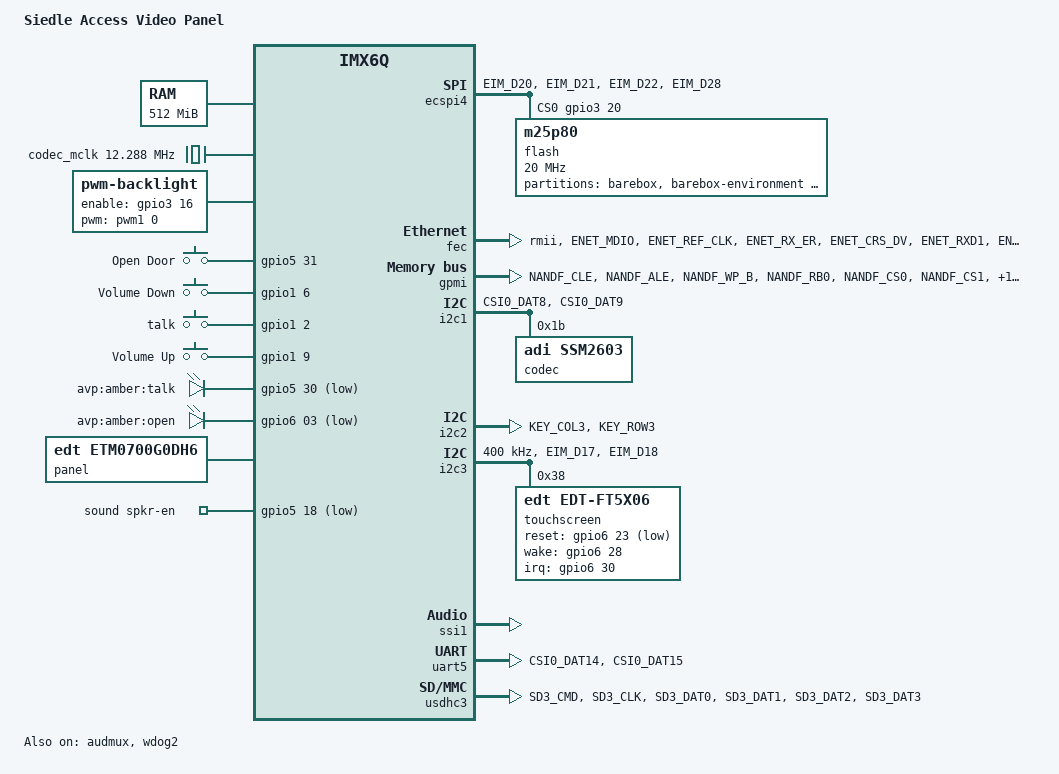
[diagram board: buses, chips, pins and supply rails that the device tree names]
/*
 * Copyright 2013 Philipp Zabel, Pengutronix
 *
 * The code contained herein is licensed under the GNU General Public
 * License. You may obtain a copy of the GNU General Public License
 * Version 2 or later at the following locations:
 *
 * http://www.opensource.org/licenses/gpl-license.html
 * http://www.gnu.org/copyleft/gpl.html
 */

/dts-v1/;
#include "imx6q.dtsi"

/ {
	model = "Siedle Access Video Panel";
	compatible = "siedle,imx6q-avp", "fsl,imx6q";

	memory {
		reg = <0x10000000 0x20000000>;
	};

	aliases {
		/* make the 'state' tool happy */
		state = &state;
	};

	chosen {
		linux,stdout-path = &uart5;

		environment@0 {
			compatible = "barebox,environment";
			device-path = &flash, "partname:barebox-environment";
		};
	};

	state: state@0 {
		magic = <0x4d433230>;
		compatible = "barebox,state";
		backend-type = "raw";
		backend = &flash, "partname:state";
		#address-cells = <1>;
		#size-cells = <1>;

		active_firmware_slot@1 {
			reg = <0 4>;
			type = "enum32";
			names = "none", "slot1", "slot2";
			default = <0>;
		};

		next_firmware_slot@2 {
			reg = <4 4>;
			type = "enum32";
			names = "none", "slot1", "slot2";
			default = <0>;
		};

		content_firmware_slot1@3 {
			/* content description of slot#1 */
			reg = <8 4>;
			type = "enum32";
			names = "empty", "deployed", "invalid", "broken";
			default = <0>;
		};

		content_firmware_slot2@4 {
			/* content description of slot#1 */
			reg = <12 4>;
			type = "enum32";
			names = "empty", "deployed", "invalid", "broken";
			default = <0>;
		};
	};

	codec_mclk: oscillator {
		compatible = "fixed-clock";
		#clock-cells = <1>;
		clock-frequency = <12288000>;
	};

	backlight {
		compatible = "pwm-backlight";
		pwms = <&pwm1 0 50000 1>;
		brightness-levels = <1 96 104 112 120 128 160 192 255>;
		default-brightness-level = <7>;
		enable-gpios = <&gpio3 16 0>;
	};

	gpio-keys {
		compatible = "gpio-keys";

		toe {
			label = "Open Door";
			gpios = <&gpio5 31 0>;
			linux,code = <134>; /* KEY_OPEN */
		};

		volume-down {
			label = "Volume Down";
			gpios = <&gpio1 6 0>;
			linux,code = <114>; /* KEY_VOLUMEDOWN */
		};

		talk {
			lable = "Talk";
			gpios = <&gpio1 2 0>;
			linux,code = <167>; /* KEY_RECORD */
		};

		volume-up {
			label = "Volume Up";
			gpios = <&gpio1 9 0>;
			linux,code = <115>; /* KEY_VOLUMEUP */
		};
	};

	leds {
		compatible = "gpio-leds";

		sprechen {
			label = "avp:amber:talk";
			gpios = <&gpio5 30 1>;
		};

		toe {
			label = "avp:amber:open";
			gpios = <&gpio6 03 1>;
		};
	};

	panel: panel {
		pinctrl-names = "default";
		pinctrl-0 = <&pinctrl_disp0_ipu1>;
		compatible = "edt,etm0700g0dh6", "fsl,imx-parallel-display";
		interface-pix-fmt = "bgr666";

		display-timings {
			native-timing = <&timing1>;
			timing1: etm0700g0dh6 {
				hactive = <800>;
				vactive = <480>;
				clock-frequency = <33260000>;
				hsync-len = <128>;
				hback-porch = <88>;
				hfront-porch = <40>;
				vsync-len = <2>;
				vback-porch = <33>;
				vfront-porch = <10>;
				hsync-active = <0>;
				vsync-active = <0>;
			};
		};
	};

        sound {
		compatible = "fsl,imx6q-siedle-avp-ssm2603",
			     "fsl,imx-audio-ssm2603";
		model = "imx6q-siedle-avp-ssm2603";
		ssi-controller = <&ssi1>;
		audio-codec = <&codec>;
		audio-routing =
			"Int Spk", "LHPOUT",
			"Int Spk", "RHPOUT",
			"MICIN", "Mic";
		fsl,spkr-en-gpios = <&gpio5 18 1>;
		mux-int-port = <1>;
		mux-ext-port = <3>;
        };
};

&audmux {
	status = "okay";
	pinctrl-names = "default";
	pinctrl-0 = <&pinctrl_audmux>;
};

&ecspi4 {
	pinctrl-names = "default";
	pinctrl-0 = <&pinctrl_ecspi4>;
	fsl,spi-num-chipselects = <1>;
	cs-gpios = <&gpio3 20 0>;
	status = "okay";

	flash: m25p80@0 {
		compatible = "m25p80";
		spi-max-frequency = <20000000>;
		use-large-blocks;
		reg = <0x0>;
		#address-cells = <1>;
		#size-cells = <1>;

		/* full size of this SPI NOR flash '25Q128' memory is 16 MiB */
		partition@0 {
			label = "barebox";
			reg = <0x00000 0x080000>; /* 512 kiB */
		};

		partition@1 {
			label = "barebox-environment";
			reg = <0x80000 0x010000>; /*  64 kiB */
		};

		partition@2 {
			label = "rescue-rootfs";
			reg = <0x90000 0xf30000>; /* 15,2 MiB */
		};

		partition@3 {
			label = "state";
			reg = <0xfc0000 0x20000>; /* 2 * 64 kiB */
		};

		/* free space: 0xfe0000-0xffffff = 0x20000 (128 kiB) */
	};
};

&fec {
	pinctrl-names = "default";
	pinctrl-0 = <&pinctrl_enet>;
	phy-mode = "rmii";
	phy-reset-gpios = <&gpio7 12 1>;
	status = "okay";
};

&ocotp {
	barebox,provide-mac-address = <&fec 0x620>;
};

&gpmi {
	/* 256 MiB of NAND */
	pinctrl-names = "default";
	pinctrl-0 = <&pinctrl_gpmi_nand>;
	nand-on-flash-bbt;
	status = "okay";
	#address-cells = <1>;
	#size-cells = <1>;

	partition@0 {
		label = "slot1";
		reg = <0x00000000 0x06e00000>; /* 110 MiB */
	};

	partition@1 {
		label = "slot2";
		reg = <0x06e00000 0x06e00000>; /* 110 MiB */
	};

	partition@2 {
		label = "data";
		reg = <0x0dc00000 0x02400000>; /*  36 MiB */
	};
};

&i2c1 {
	pinctrl-names = "default";
	pinctrl-0 = <&pinctrl_i2c1>;
	status = "okay";

	codec: audio-codec@1b {
		compatible = "adi,ssm2603";
		reg = <0x1b>;
		clocks = <&codec_mclk 0>;
	};
};

&i2c2 {
	pinctrl-names = "default";
	pinctrl-0 = <&pinctrl_i2c2>;
	status = "okay";
};

&i2c3 {
	pinctrl-names = "default";
	pinctrl-0 = <&pinctrl_i2c3>;
	clock-frequency = <400000>;
	status = "okay";

	touchscreen@38 {
		compatible = "edt,edt-ft5x06";
		reg = <0x38>;
		interrupt-parent = <&gpio6>;
		interrupts = <30 2>; /* RGMII_RXC, falling edge */
		reset-gpios = <&gpio6 23 1>;
		wake-gpios = <&gpio6 28 0>;
	};
};

&iomuxc {
	pinctrl-names = "default";
	pinctrl-0 = <&pinctrl_hog>;

	audmux {
		pinctrl_audmux: audmux {
			fsl,pins = <
				MX6QDL_PAD_CSI0_DAT7__AUD3_RXD  0x80000000
				MX6QDL_PAD_CSI0_DAT4__AUD3_TXC  0x80000000
				MX6QDL_PAD_CSI0_DAT5__AUD3_TXD  0x80000000
				MX6QDL_PAD_CSI0_DAT6__AUD3_TXFS 0x80000000
			>;
		};
	};

	disp0 {
		pinctrl_disp0_ipu1: disp0grp {
			fsl,pins = <
				MX6QDL_PAD_DISP0_DAT0__IPU1_DISP0_DATA00 0x130b1
				MX6QDL_PAD_DISP0_DAT1__IPU1_DISP0_DATA01 0x130b1
				MX6QDL_PAD_DISP0_DAT2__IPU1_DISP0_DATA02 0x130b1
				MX6QDL_PAD_DISP0_DAT3__IPU1_DISP0_DATA03 0x130b1
				MX6QDL_PAD_DISP0_DAT4__IPU1_DISP0_DATA04 0x130b1
				MX6QDL_PAD_DISP0_DAT5__IPU1_DISP0_DATA05 0x130b1
				MX6QDL_PAD_DISP0_DAT6__IPU1_DISP0_DATA06 0x130b1
				MX6QDL_PAD_DISP0_DAT7__IPU1_DISP0_DATA07 0x130b1
				MX6QDL_PAD_DISP0_DAT8__IPU1_DISP0_DATA08 0x130b1
				MX6QDL_PAD_DISP0_DAT9__IPU1_DISP0_DATA09 0x130b1
				MX6QDL_PAD_DISP0_DAT10__IPU1_DISP0_DATA10 0x130b1
				MX6QDL_PAD_DISP0_DAT11__IPU1_DISP0_DATA11 0x130b1
				MX6QDL_PAD_DISP0_DAT12__IPU1_DISP0_DATA12 0x130b1
				MX6QDL_PAD_DISP0_DAT13__IPU1_DISP0_DATA13 0x130b1
				MX6QDL_PAD_DISP0_DAT14__IPU1_DISP0_DATA14 0x130b1
				MX6QDL_PAD_DISP0_DAT15__IPU1_DISP0_DATA15 0x130b1
				MX6QDL_PAD_DISP0_DAT16__IPU1_DISP0_DATA16 0x130b1
				MX6QDL_PAD_DISP0_DAT17__IPU1_DISP0_DATA17 0x130b1
				MX6QDL_PAD_DI0_PIN2__IPU1_DI0_PIN02 0x1b0b1
				MX6QDL_PAD_DI0_PIN3__IPU1_DI0_PIN03 0x1b0b1
				MX6QDL_PAD_DI0_PIN15__IPU1_DI0_PIN15 0x80000000
				MX6QDL_PAD_DI0_DISP_CLK__IPU1_DI0_DISP_CLK 0x1b0b9
			>;
		};
	};

	enet {
		pinctrl_enet: enetgrp {
			fsl,pins = <
				MX6QDL_PAD_ENET_MDIO__ENET_MDIO      0x1b0b0
				MX6QDL_PAD_ENET_REF_CLK__GPIO1_IO23  0x130b0
				MX6QDL_PAD_ENET_RX_ER__ENET_RX_ER    0x1b0b0
				MX6QDL_PAD_ENET_CRS_DV__ENET_RX_EN   0x1b0b0
				MX6QDL_PAD_ENET_RXD1__ENET_RX_DATA1  0x1b0b0
				MX6QDL_PAD_ENET_RXD0__ENET_RX_DATA0  0x1b0b0
				MX6QDL_PAD_ENET_TX_EN__ENET_TX_EN    0x1b0b0
				MX6QDL_PAD_ENET_TXD0__ENET_TX_DATA0  0x1b0b0
				MX6QDL_PAD_ENET_TXD1__ENET_TX_DATA1  0x1b0b0
				MX6QDL_PAD_ENET_MDC__ENET_MDC        0x1b0b0
				MX6QDL_PAD_GPIO_16__ENET_REF_CLK     0x4001b0b0
			>;
		};
	};

	ecspi4 {
		pinctrl_ecspi4: ecspi4grp {
			fsl,pins = <
				MX6QDL_PAD_EIM_D20__GPIO3_IO20 0x100b1
				MX6QDL_PAD_EIM_D21__ECSPI4_SCLK 0x100b1
				MX6QDL_PAD_EIM_D22__ECSPI4_MISO 0x100b1
				MX6QDL_PAD_EIM_D28__ECSPI4_MOSI 0x100b1
			>;
		};
	};

	gpmi {
		pinctrl_gpmi_nand: gpmi-nand {
			fsl,pins = <
				MX6QDL_PAD_NANDF_CLE__NAND_CLE     0xb0b1
				MX6QDL_PAD_NANDF_ALE__NAND_ALE     0xb0b1
				MX6QDL_PAD_NANDF_WP_B__NAND_WP_B   0xb0b1
				MX6QDL_PAD_NANDF_RB0__NAND_READY_B 0xb000
				MX6QDL_PAD_NANDF_CS0__NAND_CE0_B   0xb0b1
				MX6QDL_PAD_NANDF_CS1__NAND_CE1_B   0xb0b1
				MX6QDL_PAD_NANDF_CS2__NAND_CE2_B   0xb0b1
				MX6QDL_PAD_NANDF_CS3__NAND_CE3_B   0xb0b1
				MX6QDL_PAD_SD4_CMD__NAND_RE_B      0xb0b1
				MX6QDL_PAD_SD4_CLK__NAND_WE_B      0xb0b1
				MX6QDL_PAD_NANDF_D0__NAND_DATA00   0xb0b1
				MX6QDL_PAD_NANDF_D1__NAND_DATA01   0xb0b1
				MX6QDL_PAD_NANDF_D2__NAND_DATA02   0xb0b1
				MX6QDL_PAD_NANDF_D3__NAND_DATA03   0xb0b1
				MX6QDL_PAD_NANDF_D4__NAND_DATA04   0xb0b1
				MX6QDL_PAD_NANDF_D5__NAND_DATA05   0xb0b1
				MX6QDL_PAD_NANDF_D6__NAND_DATA06   0xb0b1
				MX6QDL_PAD_NANDF_D7__NAND_DATA07   0xb0b1
				MX6QDL_PAD_SD4_DAT0__NAND_DQS      0x00b1
			>;
		};
	};

	hog {
		pinctrl_hog: hoggrp {
			fsl,pins = <
				MX6QDL_PAD_SD2_DAT3__GPIO1_IO12    0x80000000 /* nZAR */
				MX6QDL_PAD_SD2_DAT2__GPIO1_IO13    0xc0000000 /* IO_X */
				MX6QDL_PAD_SD2_DAT0__GPIO1_IO15    0xc0000000 /* IO_Y */
				MX6QDL_PAD_SD1_DAT0__GPIO1_IO16    0xc0000000 /* IO_Z */
				MX6QDL_PAD_SD1_CMD__GPIO1_IO18     0x80000000 /* nETR */
				MX6QDL_PAD_EIM_D16__GPIO3_IO16     0x80000000 /* Backlight enable */
				MX6QDL_PAD_CSI0_PIXCLK__GPIO5_IO18 0x80000000 /* SSM2305 shutdown */
				MX6QDL_PAD_CSI0_DAT12__GPIO5_IO30  0x80000000 /* LED Sprechen */
				MX6QDL_PAD_CSI0_DAT17__GPIO6_IO03  0x80000000 /* LED TOE */
				MX6QDL_PAD_SD3_RST__GPIO7_IO08     0x80000000 /* SD slot power */
				MX6QDL_PAD_SD3_DAT6__GPIO6_IO18    0x80000000 /* PMIC interrupt */
				MX6QDL_PAD_SD3_DAT5__GPIO7_IO00    0x80000000 /* SD card detect */
				MX6QDL_PAD_SD3_DAT4__GPIO7_IO01    0x80000000 /* SD write protect */
				MX6QDL_PAD_RGMII_TD3__GPIO6_IO23   0x80000000 /* Touch reset */
				MX6QDL_PAD_RGMII_RD2__GPIO6_IO28   0x80000000 /* Touch wake */
				MX6QDL_PAD_RGMII_RXC__GPIO6_IO30   0x80000000 /* Touch interrupt */
				MX6QDL_PAD_GPIO_17__GPIO7_IO12     0x80000000 /* PHY reset */
				MX6QDL_PAD_GPIO_1__WDOG2_B         0x0001b060 /* nWDOG2, 100k PU */
			>;
		};
	};

	i2c1 {
		pinctrl_i2c1: i2c1grp {
			fsl,pins = <
				MX6QDL_PAD_CSI0_DAT8__I2C1_SDA 0x4001b8b1
				MX6QDL_PAD_CSI0_DAT9__I2C1_SCL 0x4001b8b1
			>;
		};
	};

	i2c2 {
		pinctrl_i2c2: i2c2grp {
			fsl,pins = <
				MX6QDL_PAD_KEY_COL3__I2C2_SCL 0x4001b8b1
				MX6QDL_PAD_KEY_ROW3__I2C2_SDA 0x4001b8b1
			>;
		};
	};

	i2c3 {
		pinctrl_i2c3: i2c3grp {
			fsl,pins = <
				MX6QDL_PAD_EIM_D17__I2C3_SCL 0x4001b8b1
				MX6QDL_PAD_EIM_D18__I2C3_SDA 0x4001b8b1
			>;
		};
	};

	uart5 {
		pinctrl_uart5: uart5grp {
			fsl,pins = <
				MX6QDL_PAD_CSI0_DAT14__UART5_TX_DATA 0x1b0b1
				MX6QDL_PAD_CSI0_DAT15__UART5_RX_DATA 0x1b0b1
			>;
		};
	};

	usdhc3 {
		pinctrl_usdhc3: usdhc3grp {
			fsl,pins = <
				MX6QDL_PAD_SD3_CMD__SD3_CMD    0x17059
				MX6QDL_PAD_SD3_CLK__SD3_CLK    0x10059
				MX6QDL_PAD_SD3_DAT0__SD3_DATA0 0x17059
				MX6QDL_PAD_SD3_DAT1__SD3_DATA1 0x17059
				MX6QDL_PAD_SD3_DAT2__SD3_DATA2 0x17059
				MX6QDL_PAD_SD3_DAT3__SD3_DATA3 0x17059
			>;
		};
	};
};

&ssi1 {
	fsl,mode = "i2s-slave";
	status = "okay";
};

&uart5 {
	pinctrl-names = "default";
	pinctrl-0 = <&pinctrl_uart5>;
	status = "okay";
};

&usdhc3 {
	pinctrl-names = "default";
	pinctrl-0 = <&pinctrl_usdhc3>;
	status = "okay";
};

/* AVP-E3: use WDOG2, WDOG2_B via GPIO_1 can pull down PMIC_ON_REQ */
&wdog1 {
	status = "disabled";
};

&wdog2 {
	status = "okay";
	fsl,wdog-timeout;
};
